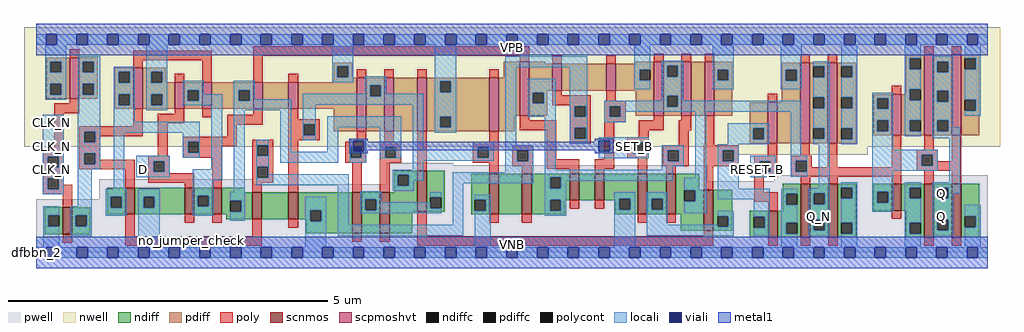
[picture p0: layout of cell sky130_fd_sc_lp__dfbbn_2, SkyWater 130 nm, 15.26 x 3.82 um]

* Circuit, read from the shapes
.subckt sky130_fd_sc_lp__dfbbn_2 CLK_N D RESET_B SET_B VGND VNB VPB VPWR Q Q_N
XM1 n1 CLK_N VGND VNB sky130_fd_pr__nfet_01v8 w=0.42 l=0.15
XM2 VGND n1 n2 VNB sky130_fd_pr__nfet_01v8 w=0.42 l=0.15
XM3 n3 D VGND VNB sky130_fd_pr__nfet_01v8 w=0.42 l=0.15
XM4 n4 n2 n3 VNB sky130_fd_pr__nfet_01v8 w=0.42 l=0.15
XM5 n5 n1 n4 VNB sky130_fd_pr__nfet_01v8 w=0.42 l=0.15
XM6 VGND n6 n5 VNB sky130_fd_pr__nfet_01v8 w=0.42 l=0.15
XM7 n7 SET_B VGND VNB sky130_fd_pr__nfet_01v8 w=0.64 l=0.15
XM8 n6 n4 n7 VNB sky130_fd_pr__nfet_01v8 w=0.64 l=0.15
XM9 n7 n8 n6 VNB sky130_fd_pr__nfet_01v8 w=0.64 l=0.15
XM10 n9 n6 VGND VNB sky130_fd_pr__nfet_01v8 w=0.64 l=0.15
XM11 n10 n1 n9 VNB sky130_fd_pr__nfet_01v8 w=0.64 l=0.15
XM12 n11 n2 n10 VNB sky130_fd_pr__nfet_01v8 w=0.42 l=0.15
XM13 VGND n12 n11 VNB sky130_fd_pr__nfet_01v8 w=0.42 l=0.15
XM14 n13 SET_B VGND VNB sky130_fd_pr__nfet_01v8 w=0.64 l=0.15
XM15 n12 n10 n13 VNB sky130_fd_pr__nfet_01v8 w=0.64 l=0.15
XM16 n13 n8 n12 VNB sky130_fd_pr__nfet_01v8 w=0.64 l=0.15
XM17 VGND RESET_B n8 VNB sky130_fd_pr__nfet_01v8 w=0.42 l=0.15
XM18 Q_N n12 VGND VNB sky130_fd_pr__nfet_01v8 w=0.84 l=0.15 m=2
XM19 VGND n12 n14 VNB sky130_fd_pr__nfet_01v8 w=0.42 l=0.15
XM20 Q n14 VGND VNB sky130_fd_pr__nfet_01v8 w=0.84 l=0.15 m=2
XM21 n1 CLK_N VPWR VPB sky130_fd_pr__pfet_01v8_hvt w=0.64 l=0.15
XM22 VPWR n1 n2 VPB sky130_fd_pr__pfet_01v8_hvt w=0.64 l=0.15
XM23 n3 D VPWR VPB sky130_fd_pr__pfet_01v8_hvt w=0.42 l=0.15
XM24 n4 n1 n3 VPB sky130_fd_pr__pfet_01v8_hvt w=0.42 l=0.15
XM25 n15 n2 n4 VPB sky130_fd_pr__pfet_01v8_hvt w=0.42 l=0.15
XM26 VPWR n6 n15 VPB sky130_fd_pr__pfet_01v8_hvt w=0.42 l=0.15
XM27 n6 SET_B VPWR VPB sky130_fd_pr__pfet_01v8_hvt w=0.84 l=0.15
XM28 n16 n4 n6 VPB sky130_fd_pr__pfet_01v8_hvt w=0.84 l=0.15
XM29 VPWR n8 n16 VPB sky130_fd_pr__pfet_01v8_hvt w=0.84 l=0.15
XM30 n17 n6 VPWR VPB sky130_fd_pr__pfet_01v8_hvt w=0.84 l=0.15
XM31 n10 n2 n17 VPB sky130_fd_pr__pfet_01v8_hvt w=0.84 l=0.15
XM32 n18 n1 n10 VPB sky130_fd_pr__pfet_01v8_hvt w=0.42 l=0.15
XM33 VPWR n12 n18 VPB sky130_fd_pr__pfet_01v8_hvt w=0.42 l=0.15
XM34 n12 SET_B VPWR VPB sky130_fd_pr__pfet_01v8_hvt w=0.84 l=0.15
XM35 n19 n10 n12 VPB sky130_fd_pr__pfet_01v8_hvt w=0.84 l=0.15
XM36 VPWR n8 n19 VPB sky130_fd_pr__pfet_01v8_hvt w=0.84 l=0.15
XM37 VPWR RESET_B n8 VPB sky130_fd_pr__pfet_01v8_hvt w=0.64 l=0.15
XM38 Q_N n12 VPWR VPB sky130_fd_pr__pfet_01v8_hvt w=1.26 l=0.15 m=2
XM39 VPWR n12 n14 VPB sky130_fd_pr__pfet_01v8_hvt w=0.64 l=0.15
XM40 Q n14 VPWR VPB sky130_fd_pr__pfet_01v8_hvt w=1.26 l=0.15 m=2
.ends

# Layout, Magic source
magic
tech sky130A
magscale 1 2
<< nwell >>
rect -38 331 3014 704
rect 2195 306 2600 331
<< pwell >>
rect 1094 273 1304 281
rect 197 214 679 229
rect 1094 222 2099 273
rect 2308 222 2975 241
rect 1094 214 2975 222
rect 197 167 2975 214
rect 1 49 2975 167
rect 0 0 2976 49
<< scnmos >>
rect 83 57 113 141
rect 279 119 309 203
rect 464 119 494 203
rect 550 119 580 203
rect 675 104 705 188
rect 789 104 819 188
rect 988 60 1018 188
rect 1075 60 1105 188
rect 1191 127 1221 255
rect 1417 119 1447 247
rect 1519 119 1549 247
rect 1668 163 1698 247
rect 1746 163 1776 247
rect 1881 119 1911 247
rect 1970 119 2000 247
rect 2088 68 2118 196
rect 2289 47 2319 131
rect 2391 47 2421 215
rect 2477 47 2507 215
rect 2675 131 2705 215
rect 2777 47 2807 215
rect 2863 47 2893 215
<< scpmoshvt >>
rect 105 481 135 609
rect 303 449 333 577
rect 433 449 463 533
rect 519 449 549 533
rect 679 449 709 533
rect 789 449 819 533
rect 1003 379 1033 547
rect 1089 379 1119 547
rect 1191 379 1221 547
rect 1417 379 1447 547
rect 1512 428 1542 596
rect 1614 506 1644 590
rect 1783 506 1813 590
rect 1932 428 1962 596
rect 2018 428 2048 596
rect 2090 428 2120 596
rect 2287 342 2317 470
rect 2389 342 2419 594
rect 2475 342 2505 594
rect 2675 367 2705 495
rect 2777 367 2807 619
rect 2863 367 2893 619
<< ndiff >>
rect 223 174 279 203
rect 27 116 83 141
rect 27 82 38 116
rect 72 82 83 116
rect 27 57 83 82
rect 113 116 169 141
rect 223 140 234 174
rect 268 140 279 174
rect 223 119 279 140
rect 309 174 464 203
rect 309 140 336 174
rect 370 140 464 174
rect 309 119 464 140
rect 494 178 550 203
rect 494 144 505 178
rect 539 144 550 178
rect 494 119 550 144
rect 580 188 653 203
rect 1120 243 1191 255
rect 1120 209 1131 243
rect 1165 209 1191 243
rect 1120 188 1191 209
rect 580 162 675 188
rect 580 128 607 162
rect 641 128 675 162
rect 580 119 675 128
rect 113 82 124 116
rect 158 82 169 116
rect 113 57 169 82
rect 595 104 675 119
rect 705 104 789 188
rect 819 132 988 188
rect 819 104 857 132
rect 845 98 857 104
rect 891 98 988 132
rect 845 60 988 98
rect 1018 166 1075 188
rect 1018 132 1029 166
rect 1063 132 1075 166
rect 1018 60 1075 132
rect 1105 127 1191 188
rect 1221 173 1278 255
rect 1221 139 1232 173
rect 1266 139 1278 173
rect 1221 127 1278 139
rect 1360 165 1417 247
rect 1360 131 1372 165
rect 1406 131 1417 165
rect 1105 60 1176 127
rect 1360 119 1417 131
rect 1447 119 1519 247
rect 1549 235 1668 247
rect 1549 201 1607 235
rect 1641 201 1668 235
rect 1549 165 1668 201
rect 1549 131 1607 165
rect 1641 163 1668 165
rect 1698 163 1746 247
rect 1776 168 1881 247
rect 1776 163 1823 168
rect 1641 131 1653 163
rect 1549 119 1653 131
rect 1811 134 1823 163
rect 1857 134 1881 168
rect 1811 119 1881 134
rect 1911 168 1970 247
rect 1911 134 1925 168
rect 1959 134 1970 168
rect 1911 119 1970 134
rect 2000 196 2073 247
rect 2000 195 2088 196
rect 2000 161 2027 195
rect 2061 161 2088 195
rect 2000 119 2088 161
rect 2015 68 2088 119
rect 2118 114 2177 196
rect 2334 184 2391 215
rect 2334 150 2346 184
rect 2380 150 2391 184
rect 2334 131 2391 150
rect 2118 80 2131 114
rect 2165 80 2177 114
rect 2118 68 2177 80
rect 2232 111 2289 131
rect 2232 77 2244 111
rect 2278 77 2289 111
rect 2232 47 2289 77
rect 2319 93 2391 131
rect 2319 59 2346 93
rect 2380 59 2391 93
rect 2319 47 2391 59
rect 2421 185 2477 215
rect 2421 151 2432 185
rect 2466 151 2477 185
rect 2421 103 2477 151
rect 2421 69 2432 103
rect 2466 69 2477 103
rect 2421 47 2477 69
rect 2507 203 2564 215
rect 2507 169 2518 203
rect 2552 169 2564 203
rect 2507 93 2564 169
rect 2618 190 2675 215
rect 2618 156 2630 190
rect 2664 156 2675 190
rect 2618 131 2675 156
rect 2705 203 2777 215
rect 2705 169 2732 203
rect 2766 169 2777 203
rect 2705 131 2777 169
rect 2507 59 2518 93
rect 2552 59 2564 93
rect 2507 47 2564 59
rect 2720 93 2777 131
rect 2720 59 2732 93
rect 2766 59 2777 93
rect 2720 47 2777 59
rect 2807 203 2863 215
rect 2807 169 2818 203
rect 2852 169 2863 203
rect 2807 103 2863 169
rect 2807 69 2818 103
rect 2852 69 2863 103
rect 2807 47 2863 69
rect 2893 113 2949 215
rect 2893 79 2904 113
rect 2938 79 2949 113
rect 2893 47 2949 79
<< pdiff >>
rect 32 597 105 609
rect 32 563 44 597
rect 78 563 105 597
rect 32 527 105 563
rect 32 493 44 527
rect 78 493 105 527
rect 32 481 105 493
rect 135 597 192 609
rect 135 563 146 597
rect 180 563 192 597
rect 135 527 192 563
rect 135 493 146 527
rect 180 493 192 527
rect 135 481 192 493
rect 246 565 303 577
rect 246 531 258 565
rect 292 531 303 565
rect 246 495 303 531
rect 246 461 258 495
rect 292 461 303 495
rect 246 449 303 461
rect 333 565 406 577
rect 333 531 360 565
rect 394 533 406 565
rect 930 582 988 594
rect 930 548 942 582
rect 976 548 988 582
rect 930 547 988 548
rect 1462 547 1512 596
rect 930 533 1003 547
rect 394 531 433 533
rect 333 495 433 531
rect 333 461 360 495
rect 394 461 433 495
rect 333 449 433 461
rect 463 508 519 533
rect 463 474 474 508
rect 508 474 519 508
rect 463 449 519 474
rect 549 508 679 533
rect 549 474 634 508
rect 668 474 679 508
rect 549 449 679 474
rect 709 449 789 533
rect 819 449 1003 533
rect 930 379 1003 449
rect 1033 523 1089 547
rect 1033 489 1044 523
rect 1078 489 1089 523
rect 1033 379 1089 489
rect 1119 379 1191 547
rect 1221 535 1417 547
rect 1221 501 1263 535
rect 1297 501 1417 535
rect 1221 425 1417 501
rect 1221 391 1263 425
rect 1297 391 1417 425
rect 1221 379 1417 391
rect 1447 428 1512 547
rect 1542 590 1592 596
rect 1875 590 1932 596
rect 1542 506 1614 590
rect 1644 506 1783 590
rect 1813 572 1932 590
rect 1813 538 1887 572
rect 1921 538 1932 572
rect 1813 506 1932 538
rect 1542 500 1599 506
rect 1542 466 1553 500
rect 1587 466 1599 500
rect 1542 428 1599 466
rect 1447 379 1497 428
rect 1875 428 1932 506
rect 1962 584 2018 596
rect 1962 550 1973 584
rect 2007 550 2018 584
rect 1962 490 2018 550
rect 1962 456 1973 490
rect 2007 456 2018 490
rect 1962 428 2018 456
rect 2048 428 2090 596
rect 2120 572 2177 596
rect 2720 607 2777 619
rect 2120 538 2131 572
rect 2165 538 2177 572
rect 2120 428 2177 538
rect 2332 571 2389 594
rect 2332 537 2344 571
rect 2378 537 2389 571
rect 2332 470 2389 537
rect 2231 388 2287 470
rect 2231 354 2242 388
rect 2276 354 2287 388
rect 2231 342 2287 354
rect 2317 342 2389 470
rect 2419 582 2475 594
rect 2419 548 2430 582
rect 2464 548 2475 582
rect 2419 485 2475 548
rect 2419 451 2430 485
rect 2464 451 2475 485
rect 2419 389 2475 451
rect 2419 355 2430 389
rect 2464 355 2475 389
rect 2419 342 2475 355
rect 2505 582 2564 594
rect 2505 548 2518 582
rect 2552 548 2564 582
rect 2505 485 2564 548
rect 2720 573 2732 607
rect 2766 573 2777 607
rect 2720 510 2777 573
rect 2720 495 2732 510
rect 2505 451 2518 485
rect 2552 451 2564 485
rect 2505 388 2564 451
rect 2505 354 2518 388
rect 2552 354 2564 388
rect 2618 483 2675 495
rect 2618 449 2630 483
rect 2664 449 2675 483
rect 2618 413 2675 449
rect 2618 379 2630 413
rect 2664 379 2675 413
rect 2618 367 2675 379
rect 2705 476 2732 495
rect 2766 476 2777 510
rect 2705 413 2777 476
rect 2705 379 2732 413
rect 2766 379 2777 413
rect 2705 367 2777 379
rect 2807 597 2863 619
rect 2807 563 2818 597
rect 2852 563 2863 597
rect 2807 505 2863 563
rect 2807 471 2818 505
rect 2852 471 2863 505
rect 2807 413 2863 471
rect 2807 379 2818 413
rect 2852 379 2863 413
rect 2807 367 2863 379
rect 2893 607 2949 619
rect 2893 573 2904 607
rect 2938 573 2949 607
rect 2893 477 2949 573
rect 2893 443 2904 477
rect 2938 443 2949 477
rect 2893 367 2949 443
rect 2505 342 2564 354
<< ndiffc >>
rect 38 82 72 116
rect 234 140 268 174
rect 336 140 370 174
rect 505 144 539 178
rect 1131 209 1165 243
rect 607 128 641 162
rect 124 82 158 116
rect 857 98 891 132
rect 1029 132 1063 166
rect 1232 139 1266 173
rect 1372 131 1406 165
rect 1607 201 1641 235
rect 1607 131 1641 165
rect 1823 134 1857 168
rect 1925 134 1959 168
rect 2027 161 2061 195
rect 2346 150 2380 184
rect 2131 80 2165 114
rect 2244 77 2278 111
rect 2346 59 2380 93
rect 2432 151 2466 185
rect 2432 69 2466 103
rect 2518 169 2552 203
rect 2630 156 2664 190
rect 2732 169 2766 203
rect 2518 59 2552 93
rect 2732 59 2766 93
rect 2818 169 2852 203
rect 2818 69 2852 103
rect 2904 79 2938 113
<< pdiffc >>
rect 44 563 78 597
rect 44 493 78 527
rect 146 563 180 597
rect 146 493 180 527
rect 258 531 292 565
rect 258 461 292 495
rect 360 531 394 565
rect 942 548 976 582
rect 360 461 394 495
rect 474 474 508 508
rect 634 474 668 508
rect 1044 489 1078 523
rect 1263 501 1297 535
rect 1263 391 1297 425
rect 1887 538 1921 572
rect 1553 466 1587 500
rect 1973 550 2007 584
rect 1973 456 2007 490
rect 2131 538 2165 572
rect 2344 537 2378 571
rect 2242 354 2276 388
rect 2430 548 2464 582
rect 2430 451 2464 485
rect 2430 355 2464 389
rect 2518 548 2552 582
rect 2732 573 2766 607
rect 2518 451 2552 485
rect 2518 354 2552 388
rect 2630 449 2664 483
rect 2630 379 2664 413
rect 2732 476 2766 510
rect 2732 379 2766 413
rect 2818 563 2852 597
rect 2818 471 2852 505
rect 2818 379 2852 413
rect 2904 573 2938 607
rect 2904 443 2938 477
<< poly >>
rect 105 609 135 635
rect 303 601 549 631
rect 303 577 333 601
rect 105 466 135 481
rect 57 436 135 466
rect 433 533 463 559
rect 519 533 549 601
rect 679 615 1542 645
rect 679 533 709 615
rect 1512 596 1542 615
rect 789 533 819 559
rect 1003 547 1033 573
rect 1089 547 1119 573
rect 1191 547 1221 573
rect 1417 547 1447 573
rect 57 316 87 436
rect 303 394 333 449
rect 433 434 463 449
rect 21 300 87 316
rect 21 266 37 300
rect 71 266 87 300
rect 21 232 87 266
rect 135 378 333 394
rect 135 344 151 378
rect 185 364 333 378
rect 381 404 463 434
rect 519 423 549 449
rect 679 430 709 449
rect 185 344 201 364
rect 135 310 201 344
rect 135 276 151 310
rect 185 290 201 310
rect 381 302 411 404
rect 597 400 709 430
rect 789 417 819 449
rect 789 401 887 417
rect 597 362 627 400
rect 459 346 627 362
rect 789 367 837 401
rect 871 367 887 401
rect 1614 590 1644 616
rect 1783 590 1813 616
rect 1932 596 1962 622
rect 2018 596 2048 622
rect 2090 596 2120 622
rect 1614 491 1644 506
rect 1614 461 1735 491
rect 1783 474 1813 506
rect 1669 458 1735 461
rect 1512 413 1542 428
rect 1669 424 1685 458
rect 1719 424 1735 458
rect 1512 383 1627 413
rect 459 312 475 346
rect 509 332 627 346
rect 675 336 741 352
rect 509 312 580 332
rect 185 276 309 290
rect 135 260 309 276
rect 21 198 37 232
rect 71 212 87 232
rect 71 198 113 212
rect 279 203 309 260
rect 351 286 417 302
rect 459 296 580 312
rect 351 252 367 286
rect 401 252 417 286
rect 351 248 417 252
rect 351 218 494 248
rect 464 203 494 218
rect 550 203 580 296
rect 675 302 691 336
rect 725 302 741 336
rect 675 268 741 302
rect 675 234 691 268
rect 725 234 741 268
rect 675 218 741 234
rect 789 351 887 367
rect 21 182 113 198
rect 83 141 113 182
rect 675 188 705 218
rect 789 188 819 351
rect 1003 347 1033 379
rect 1089 347 1119 379
rect 967 331 1033 347
rect 967 297 983 331
rect 1017 297 1033 331
rect 967 281 1033 297
rect 1075 331 1141 347
rect 1075 297 1091 331
rect 1125 297 1141 331
rect 1075 281 1141 297
rect 988 188 1018 281
rect 1075 188 1105 281
rect 1191 255 1221 379
rect 1417 347 1447 379
rect 1365 331 1447 347
rect 1365 297 1381 331
rect 1415 297 1447 331
rect 1365 281 1447 297
rect 83 31 113 57
rect 279 51 309 119
rect 464 93 494 119
rect 550 93 580 119
rect 675 51 705 104
rect 789 78 819 104
rect 1417 247 1447 281
rect 1489 319 1555 335
rect 1489 285 1505 319
rect 1539 285 1555 319
rect 1489 269 1555 285
rect 1597 292 1627 383
rect 1669 390 1735 424
rect 1669 356 1685 390
rect 1719 356 1735 390
rect 1669 340 1735 356
rect 1777 458 1843 474
rect 1777 424 1793 458
rect 1827 424 1843 458
rect 2389 594 2419 620
rect 2475 594 2505 620
rect 2777 619 2807 645
rect 2863 619 2893 645
rect 2287 470 2317 496
rect 1777 408 1843 424
rect 1932 413 1962 428
rect 2018 413 2048 428
rect 1777 292 1807 408
rect 1885 383 1962 413
rect 2010 383 2048 413
rect 1885 360 1915 383
rect 1849 344 1915 360
rect 1849 310 1865 344
rect 1899 310 1915 344
rect 2010 335 2040 383
rect 2090 335 2120 428
rect 2675 495 2705 521
rect 1849 294 1915 310
rect 1959 319 2040 335
rect 1519 247 1549 269
rect 1597 262 1698 292
rect 1668 247 1698 262
rect 1746 262 1807 292
rect 1746 247 1776 262
rect 1881 247 1911 294
rect 1959 285 1975 319
rect 2009 285 2040 319
rect 1959 269 2040 285
rect 2088 319 2197 335
rect 2088 285 2147 319
rect 2181 285 2197 319
rect 2287 302 2317 342
rect 2389 303 2419 342
rect 2088 269 2197 285
rect 2246 286 2317 302
rect 1970 247 2000 269
rect 279 21 705 51
rect 988 34 1018 60
rect 1075 34 1105 60
rect 1191 51 1221 127
rect 1668 137 1698 163
rect 1746 137 1776 163
rect 2088 196 2118 269
rect 2246 252 2262 286
rect 2296 252 2317 286
rect 2246 236 2317 252
rect 2359 287 2425 303
rect 2359 253 2375 287
rect 2409 267 2425 287
rect 2475 267 2505 342
rect 2675 267 2705 367
rect 2777 321 2807 367
rect 2409 253 2705 267
rect 2753 305 2819 321
rect 2753 271 2769 305
rect 2803 285 2819 305
rect 2863 285 2893 367
rect 2803 271 2893 285
rect 2753 255 2893 271
rect 2359 237 2705 253
rect 1417 93 1447 119
rect 1519 93 1549 119
rect 1881 93 1911 119
rect 1970 93 2000 119
rect 2246 189 2276 236
rect 2391 215 2421 237
rect 2477 215 2507 237
rect 2675 215 2705 237
rect 2777 215 2807 255
rect 2863 215 2893 255
rect 2246 159 2319 189
rect 2289 131 2319 159
rect 2088 51 2118 68
rect 1191 21 2118 51
rect 2675 105 2705 131
rect 2289 21 2319 47
rect 2391 21 2421 47
rect 2477 21 2507 47
rect 2777 21 2807 47
rect 2863 21 2893 47
<< polycont >>
rect 37 266 71 300
rect 151 344 185 378
rect 151 276 185 310
rect 837 367 871 401
rect 1685 424 1719 458
rect 475 312 509 346
rect 37 198 71 232
rect 367 252 401 286
rect 691 302 725 336
rect 691 234 725 268
rect 983 297 1017 331
rect 1091 297 1125 331
rect 1381 297 1415 331
rect 1505 285 1539 319
rect 1685 356 1719 390
rect 1793 424 1827 458
rect 1865 310 1899 344
rect 1975 285 2009 319
rect 2147 285 2181 319
rect 2262 252 2296 286
rect 2375 253 2409 287
rect 2769 271 2803 305
<< locali >>
rect 0 649 31 683
rect 65 649 127 683
rect 161 649 223 683
rect 257 649 319 683
rect 353 649 415 683
rect 449 649 511 683
rect 545 649 607 683
rect 641 649 703 683
rect 737 649 799 683
rect 833 649 895 683
rect 929 649 991 683
rect 1025 649 1087 683
rect 1121 649 1183 683
rect 1217 649 1279 683
rect 1313 649 1375 683
rect 1409 649 1471 683
rect 1505 649 1567 683
rect 1601 649 1663 683
rect 1697 649 1759 683
rect 1793 649 1855 683
rect 1889 649 1951 683
rect 1985 649 2047 683
rect 2081 649 2143 683
rect 2177 649 2239 683
rect 2273 649 2335 683
rect 2369 649 2431 683
rect 2465 649 2527 683
rect 2561 649 2623 683
rect 2657 649 2719 683
rect 2753 649 2815 683
rect 2849 649 2911 683
rect 2945 649 2976 683
rect 28 597 94 649
rect 28 563 44 597
rect 78 563 94 597
rect 28 527 94 563
rect 28 493 44 527
rect 78 493 94 527
rect 28 477 94 493
rect 130 597 201 613
rect 130 563 146 597
rect 180 563 201 597
rect 130 527 201 563
rect 130 493 146 527
rect 180 493 201 527
rect 21 300 87 430
rect 21 266 37 300
rect 71 266 87 300
rect 21 232 87 266
rect 21 198 37 232
rect 71 198 87 232
rect 21 182 87 198
rect 130 378 201 493
rect 130 344 151 378
rect 185 344 201 378
rect 130 310 201 344
rect 130 276 151 310
rect 185 276 201 310
rect 130 260 201 276
rect 242 565 308 581
rect 242 531 258 565
rect 292 531 308 565
rect 242 495 308 531
rect 242 461 258 495
rect 292 461 308 495
rect 242 409 308 461
rect 344 565 410 649
rect 344 531 360 565
rect 394 531 410 565
rect 926 582 992 649
rect 926 548 942 582
rect 976 548 992 582
rect 344 495 410 531
rect 344 461 360 495
rect 394 461 410 495
rect 458 508 524 537
rect 458 474 474 508
rect 508 495 524 508
rect 618 508 684 537
rect 926 532 992 548
rect 508 474 582 495
rect 458 461 582 474
rect 344 445 410 461
rect 242 375 512 409
rect 130 145 174 260
rect 242 200 276 375
rect 459 346 512 375
rect 459 312 475 346
rect 509 312 512 346
rect 313 286 417 302
rect 459 296 512 312
rect 313 252 367 286
rect 401 252 417 286
rect 548 260 582 461
rect 313 236 417 252
rect 489 226 582 260
rect 618 474 634 508
rect 668 479 684 508
rect 1028 523 1094 551
rect 1028 496 1044 523
rect 834 489 1044 496
rect 1078 496 1094 523
rect 1247 535 1313 649
rect 1247 501 1263 535
rect 1297 501 1313 535
rect 1078 489 1211 496
rect 668 474 798 479
rect 618 445 798 474
rect 22 116 72 145
rect 22 82 38 116
rect 22 17 72 82
rect 108 116 174 145
rect 108 82 124 116
rect 158 82 174 116
rect 218 174 284 200
rect 218 140 234 174
rect 268 140 284 174
rect 218 115 284 140
rect 320 174 386 200
rect 320 140 336 174
rect 370 140 386 174
rect 108 53 174 82
rect 320 17 386 140
rect 489 178 555 226
rect 618 190 652 445
rect 688 336 728 352
rect 688 302 691 336
rect 725 302 728 336
rect 688 268 728 302
rect 764 315 798 445
rect 834 462 1211 489
rect 834 401 874 462
rect 834 367 837 401
rect 871 367 874 401
rect 834 351 874 367
rect 910 392 1141 426
rect 910 315 944 392
rect 764 281 944 315
rect 980 350 1033 356
rect 980 331 991 350
rect 980 297 983 331
rect 1025 316 1033 350
rect 1017 297 1033 316
rect 980 281 1033 297
rect 1075 331 1141 392
rect 1075 297 1091 331
rect 1125 297 1141 331
rect 1075 295 1141 297
rect 1177 321 1211 462
rect 1247 425 1313 501
rect 1247 391 1263 425
rect 1297 391 1313 425
rect 1247 375 1313 391
rect 1467 579 1723 613
rect 1365 331 1431 347
rect 1365 321 1381 331
rect 1177 297 1381 321
rect 1415 297 1431 331
rect 1177 287 1431 297
rect 1467 335 1501 579
rect 1537 500 1625 543
rect 1537 466 1553 500
rect 1587 466 1625 500
rect 1537 424 1625 466
rect 1467 319 1555 335
rect 688 234 691 268
rect 725 245 728 268
rect 1177 259 1211 287
rect 725 234 977 245
rect 688 211 977 234
rect 489 144 505 178
rect 539 144 555 178
rect 489 115 555 144
rect 607 162 652 190
rect 641 128 652 162
rect 607 100 652 128
rect 841 132 907 175
rect 841 98 857 132
rect 891 98 907 132
rect 841 17 907 98
rect 943 87 977 211
rect 1115 243 1211 259
rect 1467 285 1505 319
rect 1539 285 1555 319
rect 1467 251 1555 285
rect 1115 209 1131 243
rect 1165 225 1211 243
rect 1165 209 1181 225
rect 1115 193 1181 209
rect 1302 217 1555 251
rect 1591 258 1625 424
rect 1669 458 1723 579
rect 1871 572 1921 649
rect 1871 538 1887 572
rect 1871 510 1921 538
rect 1957 584 2023 600
rect 1957 550 1973 584
rect 2007 550 2023 584
rect 1957 490 2023 550
rect 2115 572 2181 649
rect 2115 538 2131 572
rect 2165 538 2181 572
rect 2115 510 2181 538
rect 2328 571 2394 649
rect 2328 537 2344 571
rect 2378 537 2394 571
rect 2328 510 2394 537
rect 2430 582 2482 598
rect 2464 548 2482 582
rect 1957 474 1973 490
rect 1669 424 1685 458
rect 1719 424 1723 458
rect 1669 390 1723 424
rect 1777 458 1973 474
rect 1777 424 1793 458
rect 1827 456 1973 458
rect 2007 474 2023 490
rect 2430 485 2482 548
rect 2007 456 2393 474
rect 1827 440 2393 456
rect 1827 424 1843 440
rect 1777 408 1843 424
rect 1669 356 1685 390
rect 1719 356 1723 390
rect 1669 340 1723 356
rect 1759 350 1915 360
rect 1793 344 1915 350
rect 1793 316 1865 344
rect 1759 310 1865 316
rect 1899 310 1915 344
rect 1759 294 1915 310
rect 1957 319 2025 335
rect 1957 285 1975 319
rect 2009 285 2025 319
rect 1957 269 2025 285
rect 1957 258 1991 269
rect 1591 235 1991 258
rect 1013 166 1079 192
rect 1013 132 1029 166
rect 1063 157 1079 166
rect 1232 173 1266 189
rect 1063 139 1232 157
rect 1063 132 1266 139
rect 1013 123 1266 132
rect 1302 87 1336 217
rect 1591 201 1607 235
rect 1641 224 1991 235
rect 2061 233 2095 440
rect 2163 388 2292 404
rect 2163 354 2242 388
rect 2276 354 2292 388
rect 2163 338 2292 354
rect 1641 201 1657 224
rect 943 53 1336 87
rect 1372 165 1422 181
rect 1406 131 1422 165
rect 1372 17 1422 131
rect 1591 165 1657 201
rect 2027 195 2095 233
rect 1591 131 1607 165
rect 1641 131 1657 165
rect 1591 115 1657 131
rect 1807 168 1873 188
rect 1807 134 1823 168
rect 1857 134 1873 168
rect 1807 17 1873 134
rect 1909 168 1975 188
rect 1909 134 1925 168
rect 1959 134 1975 168
rect 1909 87 1975 134
rect 2061 161 2095 195
rect 2131 319 2197 338
rect 2131 285 2147 319
rect 2181 285 2197 319
rect 2359 303 2393 440
rect 2464 451 2482 485
rect 2430 389 2482 451
rect 2464 355 2482 389
rect 2430 339 2482 355
rect 2131 200 2197 285
rect 2233 286 2312 302
rect 2233 252 2262 286
rect 2296 252 2312 286
rect 2233 236 2312 252
rect 2359 287 2412 303
rect 2359 253 2375 287
rect 2409 253 2412 287
rect 2359 237 2412 253
rect 2448 201 2482 339
rect 2518 582 2568 649
rect 2552 548 2568 582
rect 2518 485 2568 548
rect 2716 607 2766 649
rect 2716 573 2732 607
rect 2716 510 2766 573
rect 2552 451 2568 485
rect 2518 388 2568 451
rect 2552 354 2568 388
rect 2518 338 2568 354
rect 2614 483 2680 499
rect 2614 449 2630 483
rect 2664 449 2680 483
rect 2614 413 2680 449
rect 2614 379 2630 413
rect 2664 379 2680 413
rect 2614 321 2680 379
rect 2716 476 2732 510
rect 2716 413 2766 476
rect 2716 379 2732 413
rect 2716 363 2766 379
rect 2802 597 2868 613
rect 2802 563 2818 597
rect 2852 563 2868 597
rect 2802 505 2868 563
rect 2802 471 2818 505
rect 2852 471 2868 505
rect 2802 413 2868 471
rect 2904 607 2954 649
rect 2938 573 2954 607
rect 2904 477 2954 573
rect 2938 443 2954 477
rect 2904 427 2954 443
rect 2802 379 2818 413
rect 2852 391 2868 413
rect 2852 379 2889 391
rect 2802 357 2889 379
rect 2614 305 2819 321
rect 2614 271 2769 305
rect 2803 271 2819 305
rect 2614 255 2819 271
rect 2131 166 2294 200
rect 2027 123 2095 161
rect 2131 114 2181 130
rect 1909 80 2131 87
rect 2165 80 2181 114
rect 1909 53 2181 80
rect 2244 111 2294 166
rect 2278 77 2294 111
rect 2244 53 2294 77
rect 2330 184 2380 200
rect 2330 150 2346 184
rect 2330 93 2380 150
rect 2330 59 2346 93
rect 2330 17 2380 59
rect 2416 185 2482 201
rect 2416 151 2432 185
rect 2466 151 2482 185
rect 2416 103 2482 151
rect 2416 69 2432 103
rect 2466 69 2482 103
rect 2416 53 2482 69
rect 2518 203 2568 219
rect 2552 169 2568 203
rect 2518 93 2568 169
rect 2614 190 2680 255
rect 2855 219 2889 357
rect 2614 156 2630 190
rect 2664 156 2680 190
rect 2614 127 2680 156
rect 2716 203 2766 219
rect 2716 169 2732 203
rect 2552 59 2568 93
rect 2518 17 2568 59
rect 2716 93 2766 169
rect 2716 59 2732 93
rect 2716 17 2766 59
rect 2802 203 2889 219
rect 2802 169 2818 203
rect 2852 185 2889 203
rect 2852 169 2868 185
rect 2802 103 2868 169
rect 2802 69 2818 103
rect 2852 69 2868 103
rect 2802 53 2868 69
rect 2904 113 2954 149
rect 2938 79 2954 113
rect 2904 17 2954 79
rect 0 -17 31 17
rect 65 -17 127 17
rect 161 -17 223 17
rect 257 -17 319 17
rect 353 -17 415 17
rect 449 -17 511 17
rect 545 -17 607 17
rect 641 -17 703 17
rect 737 -17 799 17
rect 833 -17 895 17
rect 929 -17 991 17
rect 1025 -17 1087 17
rect 1121 -17 1183 17
rect 1217 -17 1279 17
rect 1313 -17 1375 17
rect 1409 -17 1471 17
rect 1505 -17 1567 17
rect 1601 -17 1663 17
rect 1697 -17 1759 17
rect 1793 -17 1855 17
rect 1889 -17 1951 17
rect 1985 -17 2047 17
rect 2081 -17 2143 17
rect 2177 -17 2239 17
rect 2273 -17 2335 17
rect 2369 -17 2431 17
rect 2465 -17 2527 17
rect 2561 -17 2623 17
rect 2657 -17 2719 17
rect 2753 -17 2815 17
rect 2849 -17 2911 17
rect 2945 -17 2976 17
<< viali >>
rect 31 649 65 683
rect 127 649 161 683
rect 223 649 257 683
rect 319 649 353 683
rect 415 649 449 683
rect 511 649 545 683
rect 607 649 641 683
rect 703 649 737 683
rect 799 649 833 683
rect 895 649 929 683
rect 991 649 1025 683
rect 1087 649 1121 683
rect 1183 649 1217 683
rect 1279 649 1313 683
rect 1375 649 1409 683
rect 1471 649 1505 683
rect 1567 649 1601 683
rect 1663 649 1697 683
rect 1759 649 1793 683
rect 1855 649 1889 683
rect 1951 649 1985 683
rect 2047 649 2081 683
rect 2143 649 2177 683
rect 2239 649 2273 683
rect 2335 649 2369 683
rect 2431 649 2465 683
rect 2527 649 2561 683
rect 2623 649 2657 683
rect 2719 649 2753 683
rect 2815 649 2849 683
rect 2911 649 2945 683
rect 991 331 1025 350
rect 991 316 1017 331
rect 1017 316 1025 331
rect 1759 316 1793 350
rect 31 -17 65 17
rect 127 -17 161 17
rect 223 -17 257 17
rect 319 -17 353 17
rect 415 -17 449 17
rect 511 -17 545 17
rect 607 -17 641 17
rect 703 -17 737 17
rect 799 -17 833 17
rect 895 -17 929 17
rect 991 -17 1025 17
rect 1087 -17 1121 17
rect 1183 -17 1217 17
rect 1279 -17 1313 17
rect 1375 -17 1409 17
rect 1471 -17 1505 17
rect 1567 -17 1601 17
rect 1663 -17 1697 17
rect 1759 -17 1793 17
rect 1855 -17 1889 17
rect 1951 -17 1985 17
rect 2047 -17 2081 17
rect 2143 -17 2177 17
rect 2239 -17 2273 17
rect 2335 -17 2369 17
rect 2431 -17 2465 17
rect 2527 -17 2561 17
rect 2623 -17 2657 17
rect 2719 -17 2753 17
rect 2815 -17 2849 17
rect 2911 -17 2945 17
<< metal1 >>
rect 0 683 2976 715
rect 0 649 31 683
rect 65 649 127 683
rect 161 649 223 683
rect 257 649 319 683
rect 353 649 415 683
rect 449 649 511 683
rect 545 649 607 683
rect 641 649 703 683
rect 737 649 799 683
rect 833 649 895 683
rect 929 649 991 683
rect 1025 649 1087 683
rect 1121 649 1183 683
rect 1217 649 1279 683
rect 1313 649 1375 683
rect 1409 649 1471 683
rect 1505 649 1567 683
rect 1601 649 1663 683
rect 1697 649 1759 683
rect 1793 649 1855 683
rect 1889 649 1951 683
rect 1985 649 2047 683
rect 2081 649 2143 683
rect 2177 649 2239 683
rect 2273 649 2335 683
rect 2369 649 2431 683
rect 2465 649 2527 683
rect 2561 649 2623 683
rect 2657 649 2719 683
rect 2753 649 2815 683
rect 2849 649 2911 683
rect 2945 649 2976 683
rect 0 617 2976 649
rect 979 350 1037 356
rect 979 316 991 350
rect 1025 347 1037 350
rect 1747 350 1805 356
rect 1747 347 1759 350
rect 1025 319 1759 347
rect 1025 316 1037 319
rect 979 310 1037 316
rect 1747 316 1759 319
rect 1793 316 1805 350
rect 1747 310 1805 316
rect 0 17 2976 49
rect 0 -17 31 17
rect 65 -17 127 17
rect 161 -17 223 17
rect 257 -17 319 17
rect 353 -17 415 17
rect 449 -17 511 17
rect 545 -17 607 17
rect 641 -17 703 17
rect 737 -17 799 17
rect 833 -17 895 17
rect 929 -17 991 17
rect 1025 -17 1087 17
rect 1121 -17 1183 17
rect 1217 -17 1279 17
rect 1313 -17 1375 17
rect 1409 -17 1471 17
rect 1505 -17 1567 17
rect 1601 -17 1663 17
rect 1697 -17 1759 17
rect 1793 -17 1855 17
rect 1889 -17 1951 17
rect 1985 -17 2047 17
rect 2081 -17 2143 17
rect 2177 -17 2239 17
rect 2273 -17 2335 17
rect 2369 -17 2431 17
rect 2465 -17 2527 17
rect 2561 -17 2623 17
rect 2657 -17 2719 17
rect 2753 -17 2815 17
rect 2849 -17 2911 17
rect 2945 -17 2976 17
rect 0 -49 2976 -17
<< labels >>
flabel pwell s 0 0 2976 49 0 FreeSans 200 0 0 0 VNB
port 6 nsew ground bidirectional
flabel nwell s 0 617 2976 666 0 FreeSans 200 0 0 0 VPB
port 7 nsew power bidirectional
rlabel comment s 0 0 0 0 4 dfbbn_2
flabel comment s 486 39 486 39 0 FreeSans 200 0 0 0 no_jumper_check
flabel metal1 s 0 617 2976 666 0 FreeSans 340 0 0 0 VPWR
port 8 nsew power bidirectional
flabel metal1 s 0 0 2976 49 0 FreeSans 340 0 0 0 VGND
port 5 nsew ground bidirectional
flabel locali s 319 242 353 276 0 FreeSans 340 0 0 0 D
port 2 nsew signal input
flabel locali s 31 242 65 276 0 FreeSans 340 0 0 0 CLK_N
port 1 nsew clock input
flabel locali s 31 316 65 350 0 FreeSans 340 0 0 0 CLK_N
port 1 nsew clock input
flabel locali s 31 390 65 424 0 FreeSans 340 0 0 0 CLK_N
port 1 nsew clock input
flabel locali s 2239 242 2273 276 0 FreeSans 340 0 0 0 RESET_B
port 3 nsew signal input
flabel locali s 1855 316 1889 350 0 FreeSans 340 0 0 0 SET_B
port 4 nsew signal input
flabel locali s 2815 94 2849 128 0 FreeSans 340 0 0 0 Q
port 9 nsew signal output
flabel locali s 2815 168 2849 202 0 FreeSans 340 0 0 0 Q
port 9 nsew signal output
flabel locali s 2431 94 2465 128 0 FreeSans 340 0 0 0 Q_N
port 10 nsew signal output
<< properties >>
string LEFsite unit
string LEFclass CORE
string FIXED_BBOX 0 0 2976 666
string GDS_FILE $PDKPATH/libs.ref/sky130_fd_sc_lp/gds/sky130_fd_sc_lp.gds
string LEFsymmetry X Y R90
string GDS_END 2153020
string GDS_START 2133292
<< end >>
